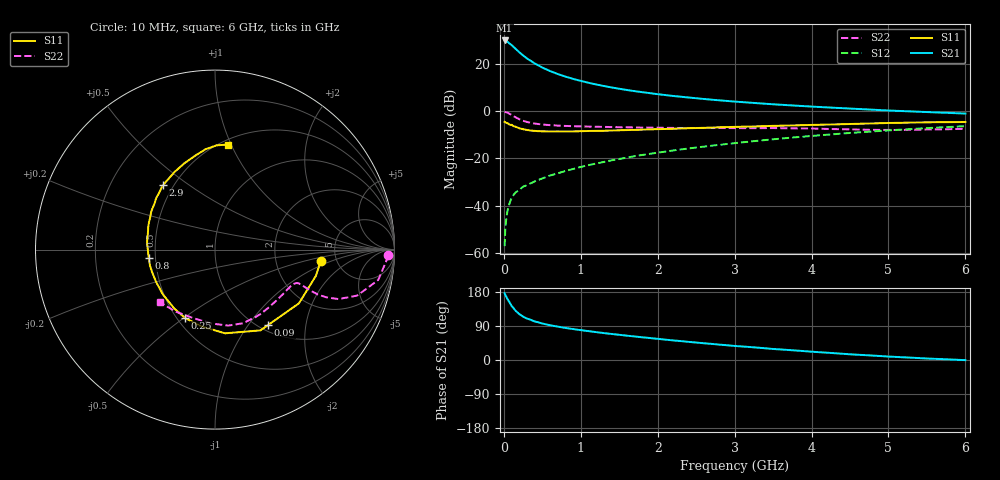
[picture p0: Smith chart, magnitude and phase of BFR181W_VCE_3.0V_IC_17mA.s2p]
! Infineon Technologies  Discrete & RF Semiconductors
! BFR181W
! VCE =  3.0 V,  IC =  17 mA
! Common Emitter S-Parameters:  Jan 2017
# GHz  S  MA  R  50
!  f  S11  S21  S12  S22
! GHz  MAG  ANG  MAG  ANG  MAG  ANG  MAG  ANG
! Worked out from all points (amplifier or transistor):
!   77 points, 10 MHz to 6 GHz, reference 50 ohm
!   highest |S21| = 29.9 dB at 10 MHz (marker M1)
!   |S21| within 3 dB of that: start of sweep to 135.5 MHz
!   unconditionally stable (mu >= 1): 553 MHz to 2.63 GHz
!   at 130 MHz: K = 0.43, MSG = 31.2 dB, |S12| = -35.3 dB
!   at 2.2 GHz: K = 1.06, MAG = 10.1 dB, |S12| = -16.6 dB
!   at 6 GHz: K = 0.85, MSG = 2.7 dB, |S12| = -6.3 dB
!   S11 on the Smith chart (normalised r, x): 10 MHz: 3.77, -0.71; 90 MHz: 1.10, -1.25; 250 MHz: 0.55, -0.51; 800 MHz: 0.46, -0.05; 2.9 GHz: 0.44, +0.40; 6 GHz: 0.54, +0.97
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0.01  0.593 -5.9  31.15 176.4  0.0014 88.1  0.9659 -1.9
0.02  0.5808 -14.6  30.82 171.5  0.0035 92.1  0.9555 -4.0
0.05  0.5553 -32.6  29.1 159.7  0.0082 77.8  0.9251 -10.5
0.09  0.5139 -54.8  25.64 146.5  0.0133 69.7  0.8501 -16.3
0.1  0.5165 -60.6  25.02 142.7  0.0146 68.6  0.8328 -17.9
0.15  0.4698 -83.1  20.99 130.5  0.0189 63.0  0.7432 -21.8
0.2  0.4348 -99.8  17.59 121.2  0.0217 61.8  0.6746 -23.2
0.25  0.4158 -113.5  15.02 114.5  0.0253 60.0  0.626 -23.6
0.3  0.3994 -124.4  12.98 109.3  0.0273 60.7  0.5897 -23.3
0.4  0.3829 -139.5  10.21 101.8  0.0326 62.7  0.5461 -22.7
0.5  0.3744 -151.0  8.329 96.3  0.0378 64.6  0.5212 -22.3
0.6  0.3724 -159.6  7.042 91.8  0.0436 65.9  0.5059 -22.0
0.8  0.3721 -172.5  5.378 84.6  0.0544 70.6  0.4867 -22.6
0.9  0.3731 -177.7  4.798 81.6  0.0599 70.8  0.4806 -23.3
1.1  0.3806 174.1  3.976 76.2  0.0722 72.6  0.472 -25.0
1.5  0.3936 160.9  2.968 66.5  0.0974 73.7  0.4577 -30.1
2.1  0.4194 145.2  2.185 53.8  0.1397 73.2  0.4437 -40.6
2.9  0.4602 128.8  1.641 38.9  0.2019 69.5  0.4385 -57.2
3.1  0.4682 124.9  1.55 35.7  0.2189 68.1  0.4373 -61.3
4.1  0.515 107.8  1.224 20.6  0.3078 60.1  0.4248 -82.5
5.1  0.565 94.1  1.015 8.1  0.4003 49.8  0.4002 -110.6
6  0.5895 83.1  0.888 -0.4  0.4816 39.7  0.4241 -136.3
